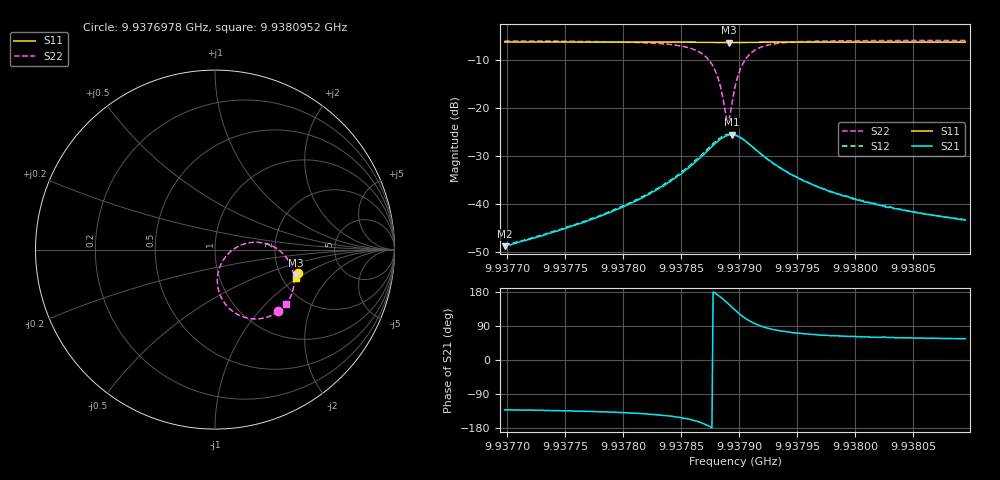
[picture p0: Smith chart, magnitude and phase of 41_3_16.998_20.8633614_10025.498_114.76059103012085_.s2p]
#  HZ  S  RI  R  50.00
! Rohde & Schwarz Vector Network Analyzer
! Rohde-Schwarz,ZNB20-2Port,1311601062101988,3.16
! Created: UTC 3/20/2024, 10:53:54 PM
! freq[Hz]  re:S11  im:S11  re:S21  im:S21  re:S12  im:S12  re:S22  im:S22
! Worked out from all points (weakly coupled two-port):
!   401 points, 9.9376978 GHz to 9.9380952 GHz, reference 50 ohm
!   highest |S21| = -25.62 dB at 9.9378935 GHz (marker M1); lowest = -48.8 dB at 9.9376978 GHz (marker M2)
!   lowest |S11| = -6.5 dB at 9.9378916 GHz (marker M3), VSWR 2.81, Z = 121 - j44.5 ohm
!   |S11| at or under -10 dB: nowhere
!   |S22| runs from -23.0 to -6.0 dB; largest |S21 - S12| = 0.0038
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9.93769782e9  0.4632 -0.1321  -0.00242 -0.00271  -0.00252 -0.00274  0.3535 -0.3445
9.93776438e9  0.4612 -0.1368  -0.0045 -0.00444  -0.00466 -0.00449  0.3306 -0.3592
9.93780015e9  0.4602 -0.1394  -0.00702 -0.00612  -0.00729 -0.0062  0.3061 -0.3711
9.93783095e9  0.4589 -0.1418  -0.0118 -0.00827  -0.0124 -0.00827  0.2622 -0.3832
9.93785778e9  0.4571 -0.144  -0.0224 -0.00952  -0.0236 -0.00915  0.1705 -0.3789
9.93787268e9  0.4551 -0.1446  -0.0351 -0.00484  -0.0369 -0.00361  0.0703 -0.3184
9.93788063e9  0.4537 -0.1442  -0.0434 0.00454  -0.0451 0.00713  0.019 -0.2235
9.9378846e9  0.453 -0.1435  -0.046 0.0125  -0.047 0.0156  0.0135 -0.1536
9.93788857e9  0.4529 -0.1428  -0.0458 0.022  -0.0457 0.0255  0.0357 -0.0766
9.93789056e9  0.453 -0.1423  -0.0442 0.0268  -0.0436 0.0304  0.0581 -0.041
9.93789156e9  0.4529 -0.1421  -0.0432 0.029  -0.0421 0.0326  0.0725 -0.0245
9.93789354e9  0.4532 -0.1417  -0.0402 0.0335  -0.0388 0.0365  0.105 0.00313
9.93789652e9  0.4536 -0.1411  -0.0345 0.0384  -0.0323 0.041  0.1609 0.0307
9.9378995e9  0.4542 -0.1408  -0.0278 0.0416  -0.0253 0.0436  0.2187 0.041
9.93790348e9  0.4551 -0.1406  -0.0193 0.0428  -0.0167 0.0438  0.2876 0.0323
9.93790845e9  0.4561 -0.141  -0.0104 0.0408  -0.00816 0.0412  0.3514 0.000949
9.93791441e9  0.4567 -0.1416  -0.00317 0.0365  -0.00161 0.0364  0.3982 -0.045
9.93793527e9  0.4576 -0.1446  0.00525 0.0232  0.00594 0.023  0.4404 -0.1623
9.93796309e9  0.4572 -0.1473  0.00614 0.0147  0.00646 0.0146  0.4324 -0.2309
9.93799886e9  0.4564 -0.1502  0.00531 0.0099  0.00559 0.00991  0.418 -0.268
9.93802966e9  0.4556 -0.1522  0.00477 0.00797  0.00489 0.00787  0.4091 -0.2851
9.93809523e9  0.4539 -0.157  0.00377 0.00563  0.00395 0.00561  0.3955 -0.3048
